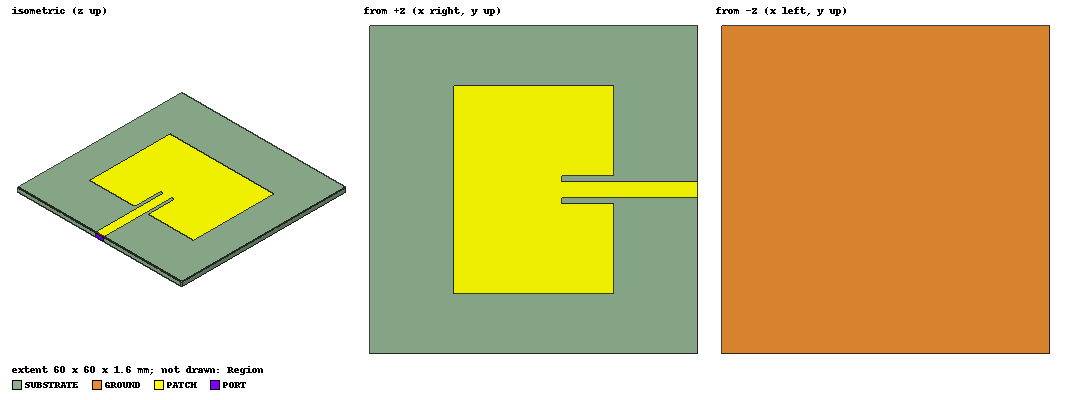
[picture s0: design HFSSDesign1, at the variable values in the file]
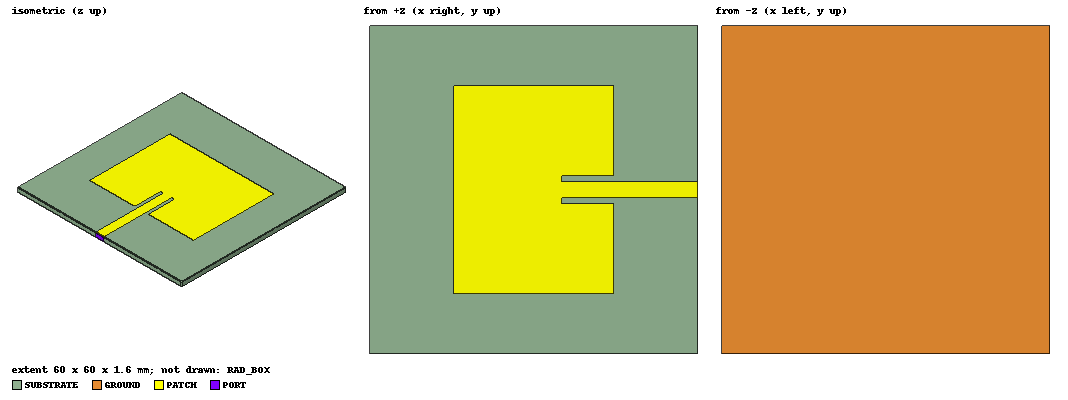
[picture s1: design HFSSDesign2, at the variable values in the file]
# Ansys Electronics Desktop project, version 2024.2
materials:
  vacuum: permittivity=1
  FR4_epoxy: permittivity=4.4 dielectric_loss_tangent=0.02
  air: permittivity=1.0006 permeability=1.0000004

design HFSSDesign1 (HFSS, HFSS Modal Network, model units mm)
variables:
  sub_x = 60mm
  sub_y = 60mm
  thickness = 1.6mm
  patch_x = 29.4mm
  patch_y = 38mm
  feed_x = 30mm
  feed_w = 3mm
  cut_x = -9.5mm
  cut_y = 5mm
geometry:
  GROUND = rectangle(corner=(-sub_x /2, -sub_y/2, -thickness), x_size=sub_x, y_size=sub_y)
  SUBSTRATE [FR4_epoxy] = box(corner=(-sub_x/2, -sub_y/2, 0mm), size=(sub_x, sub_y, -thickness))
  PATCH = rectangle(corner=(-patch_x/2, -patch_y/2, 1.6mm), x_size=patch_x, y_size=patch_y)
  FEED = rectangle(corner=(0mm, -feed_w/2, 1.6mm), x_size=feed_x, y_size=feed_w)
  CUT = rectangle(corner=(patch_x/2, -cut_y/2, thickness), x_size=cut_x, y_size=cut_y)
  PATCH.subtract(CUT)
  PATCH.unite(FEED)
  PORT = rectangle(corner=(sub_x/2, -feed_w/2, thickness), y_size=feed_w, z_size=-thickness)
  [PATCH, PORT].move(0mm, 0mm, -1.6mm)
  Region [vacuum] = region(absolute_offset=30mm on all sides)
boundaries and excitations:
  PerfE1: Perfect E Objects=GROUND
  PerfE2: Perfect E Objects=PATCH
  Rad1: Radiation Objects=Region
  1: Lumped Port Objects=PORT LumpedPortType=Modal Modes{Mode1{IntLine{(30, 0, -1.6) -> (30, 0, 0)} CharImp=Zpi RenormImp=50ohm}} Impedance=50ohm
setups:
  Setup1: HfssDriven Frequency=2.4GHz MaxDeltaS=0.1 MaximumPasses=20 MinimumPasses=1 MinimumConvergedPasses=1 PercentRefinement=30 BasisOrder=1 PortAccuracy=2 DrivenSolverType="Direct Solver"
    sweep Sweep: 1GHz to 3GHz, 101 points; Type=Fast SaveFields
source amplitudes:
  1:1: 1W 0deg
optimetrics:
  ParametricSetup1: Parametric Sim._Setups=[Setup1]
    sweep feed_x: LINC 25mm 35mm 5
    sweep feed_w: LINC 2.5mm 3.5mm 5
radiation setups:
  Infinite Sphere1: Infinite Sphere Theta=0deg..0deg step 0deg Phi=0deg..0deg step 0deg
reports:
  S Parameter Plot 1: dB(S(1,1)) vs Freq on Setup1 : Sweep [feed_x=all feed_w=all cut_y=all]; markers m1 at 2.38GHz, m2 at 2.26GHz, m3 at 2.32GHz

design HFSSDesign2 (HFSS, HFSS Modal Network, model units mm)
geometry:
  GROUND = rectangle(corner=(-30mm, -30mm, 0mm), x_size=60mm, y_size=60mm)
  SUBSTRATE [FR4_epoxy] = box(corner=(-30mm, -30mm, 0mm), size=(60mm, 60mm, 1.6mm))
  PATCH = rectangle(corner=((-29.4/2) mm, (-38/2) mm, 1.6mm), x_size=29.4mm, y_size=38mm)
  FEED = rectangle(corner=(0mm, -1.5mm, 1.6mm), x_size=30mm, y_size=3mm)
  CUT = rectangle(corner=((29.4/2) mm, -2.5mm, 1.6mm), x_size=-9.5mm, y_size=5mm)
  PATCH.subtract(CUT)
  PATCH.unite(FEED)
  PORT = rectangle(corner=(30mm, -1.5mm, 1.6mm), y_size=3mm, z_size=-1.6mm)
  RAD_BOX [air] = box(corner=(-50mm, -50mm, -25mm), size=(100mm, 100mm, 50mm))
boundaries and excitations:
  PerfE1: Perfect E Objects=[PATCH, GROUND]
  Rad1: Radiation Objects=RAD_BOX
  1: Lumped Port Objects=PORT LumpedPortType=Modal Modes{Mode1{IntLine{(30, 0, 0) -> (30, 0, 1.6)} CharImp=Zpi RenormImp=50ohm}} Impedance=50ohm
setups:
  Setup1: HfssDriven Frequency=2.4GHz MaxDeltaS=0.02 MaximumPasses=20 MinimumPasses=1 MinimumConvergedPasses=1 PercentRefinement=30 BasisOrder=1 PortAccuracy=2 DrivenSolverType="Direct Solver"
    sweep Sweep: 1GHz to 3GHz, 101 points; Type=Fast SaveFields
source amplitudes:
  1:1: 1W 0deg
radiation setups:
  Infinite Sphere1: Infinite Sphere Theta=0deg..0deg step 0deg Phi=0deg..0deg step 0deg
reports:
  S Parameter Plot 1: dB(S(1,1)) vs Freq on Setup1 : Sweep; markers m1 at 2.38GHz
  Gain Plot 1: dB(GainTotal) vs Freq on Setup1 : Sweep, Infinite Sphere1 [Phi=all Theta=all]; markers m1 at 2.38GHz
